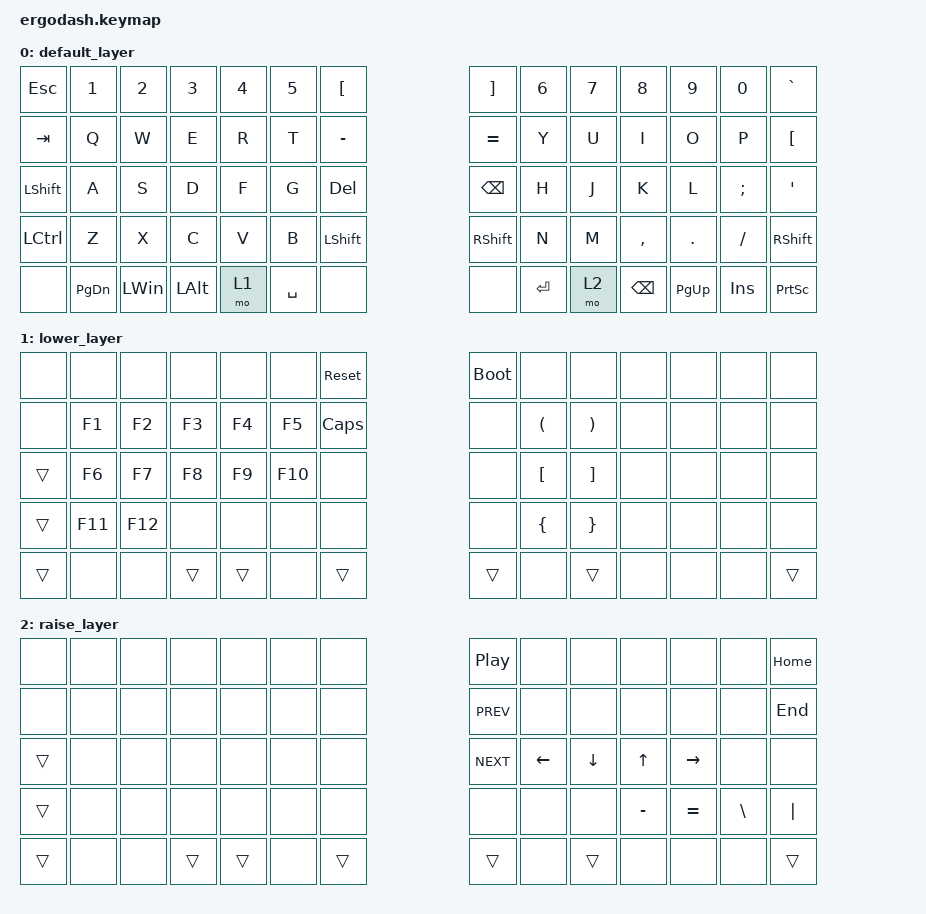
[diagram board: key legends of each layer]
/*
 * Copyright (c) 2020 The ZMK Contributors
 *
 * SPDX-License-Identifier: MIT
 */

#include <behaviors.dtsi>
#include <dt-bindings/zmk/keys.h>

#define DEFAULT 0
#define LOWER   1
#define RAISE   2

/ {
    keymap {
        compatible = "zmk,keymap";

        default_layer {
            /* QWERTY
 * .----------------------------------------------------------------------------------------------------------------------.
 * |  `   |   1  |   2  |   3  |   4  |   5  |  [   |                    |  ]   |   6  |   7  |   8  |   9  |   0  | PScr |
 * |------+------+------+------+------+------+------+--------------------+------+------+------+------+------+------+------|
 * | ESC  |   Q  |   W  |   E  |   R  |   T  |  -   |                    |  =   |   Y  |   U  |   I  |   O  |   P  |  \   |
 * |------+------+------+------+------+------+------+--------------------+------+------+------+------+------+------+------|
 * | Tab  |   A  |   S  |   D  |   F  |   G  | Del  |                    | Bksp |   H  |   J  |   K  |   L  |   ;  |  '   |
 * |------+------+------+------+------+------+---------------------------+------+------+------+------+------+------+------|
 * | Shift|   Z  |   X  |   C  |   V  |   B  | End  |                    | Home |   N  |   M  |   ,  |   .  |   /  | Shift|
 * |-------------+------+------+------+------+------+------+------+------+------+------+------+------+------+-------------|
 * | Ctrl |      | PGDN | Win  |||||||| Alt  | Space| Lower|||||||| Raise| Enter| RAlt ||||||||      | PGUP | Ins  | RCtrl|
 * .----------------------------------------------------------------------------------------------------------------------.
 */

            bindings = <
&kp ESCAPE      &kp N1         &kp N2        &kp N3        &kp N4  &kp N5  &kp LBKT                                    &kp RBKT   &kp N6  &kp N7  &kp N8         &kp N9     &kp N0     &kp GRAVE
&kp TAB         &kp Q          &kp W         &kp E         &kp R   &kp T   &kp MINUS                                   &kp EQUAL  &kp Y   &kp U   &kp I          &kp O      &kp P      &kp LEFT_BRACKET
&kp LEFT_SHIFT  &kp A          &kp S         &kp D         &kp F   &kp G   &kp DEL                                     &kp BSPC   &kp H   &kp J   &kp K          &kp L      &kp SEMI   &kp SQT
&kp LCTRL       &kp Z          &kp X         &kp C         &kp V   &kp B              &kp LEFT_SHIFT  &kp RIGHT_SHIFT             &kp N   &kp M   &kp COMMA      &kp DOT    &kp SLASH  &kp RSHFT
&none           &kp PAGE_DOWN  &kp LEFT_WIN  &kp LEFT_ALT  &mo 1           &kp SPACE  &none           &none            &kp ENTER          &mo 2   &kp BACKSPACE  &kp PG_UP  &kp INS    &kp PRINTSCREEN
            >;
        };

        lower_layer {
            /* .----------------------------------------------------------------------------------------------------------------------.
 * |  F11 |  F1  |  F2  |  F3  |  F4  |  F5  |      |                    |      |  F6  |  F7  |  F8  |  F9  |  F10 |  F12 |
 * |------+------+------+------+------+------+------+--------------------+------+------+------+------+------+------+------|
 * |      |      |      |      |      |      |      |                    |      |      |      |      |      |      |      |
 * |------+------+------+------+------+------+------+--------------------+------+------+------+------+------+------+------|
 * |      |      |      |      |      |      |      |                    |      |      |      |      |      |      |      |
 * |------+------+------+------+------+------+---------------------------+------+------+------+------+------+------+------|
 * | Shift| Boot | Reset|      |      |      |      |                    |      |      |      |      |      |      | Shift|
 * |-------------+------+------+------+------+------+------+------+------+------+------+------+------+------+-------------|
 * | Ctlr |      |      |  Win |||||||| Alt  |      | Lower|||||||| Raise|      | RAlt ||||||||      |      |      | RCtrl|
 * .----------------------------------------------------------------------------------------------------------------------.
 */ /* FIXME boot and reset are not yet locale aware */
            bindings = <
&none   &none    &none    &none   &none   &none    &sys_reset                    &bootloader  &none                 &none                  &none  &none  &none  &none
&none   &kp F1   &kp F2   &kp F3  &kp F4  &kp F5   &kp CAPSLOCK                  &none        &kp LEFT_PARENTHESIS  &kp RIGHT_PARENTHESIS  &none  &none  &none  &none
&trans  &kp F6   &kp F7   &kp F8  &kp F9  &kp F10  &none                         &none        &kp LEFT_BRACKET      &kp RIGHT_BRACKET      &none  &none  &none  &none
&trans  &kp F11  &kp F12  &none   &none   &none                  &none   &none                &kp LEFT_BRACE        &kp RIGHT_BRACE        &none  &none  &none  &none
&trans  &none    &none    &trans  &trans           &none         &trans  &trans  &none                              &trans                 &none  &none  &none  &trans
            >;
        };

        raise_layer {
            /* .----------------------------------------------------------------------------------------------------------------------.
 * |      | BT 0 | BT 1 | BT 2 | BT 3 |      | BTCL |                    |      |      |      |      |      |      |      |
 * |------+------+------+------+------+------+------+--------------------+------+------+------+------+------+------+------|
 * |      |      |      |      |      |      |      |                    |      |      |      |      |      |      |      |
 * |------+------+------+------+------+------+------+--------------------+------+------+------+------+------+------+------|
 * |      |      |      |      |      |      |      |                    |      |      |      |      |      |      |      |
 * |------+------+------+------+------+------+---------------------------+------+------+------+------+------+------+------|
 * | Shift|      |      |      |      |      |      |                    |      |      |      |      | Boot | Reset| Shift|
 * |-------------+------+------+------+------+------+------+------+------+------+------+------+------+------+-------------|
 * | Ctlr |      |      |  Win |||||||| Alt  |      | Lower|||||||| Raise|      | RAlt ||||||||      |      |      | RCtrl|
 * .----------------------------------------------------------------------------------------------------------------------.
 */ /* FIXME boot and reset are not yet locale aware */
            bindings = <
&none   &none  &none  &none   &none   &none  &none                  &kp C_PLAY_PAUSE  &none     &none     &none      &none      &none          &kp HOME
&none   &none  &none  &none   &none   &none  &none                  &kp C_PREV        &none     &none     &none      &none      &none          &kp END
&trans  &none  &none  &none   &none   &none  &none                  &kp C_NEXT        &kp LEFT  &kp DOWN  &kp UP     &kp RIGHT  &none          &none
&trans  &none  &none  &none   &none   &none         &none   &none                     &none     &none     &kp MINUS  &kp EQUAL  &kp BACKSLASH  &kp PIPE
&trans  &none  &none  &trans  &trans         &none  &trans  &trans  &none                       &trans    &none      &none      &none          &trans
            >;
        };
    };
};
